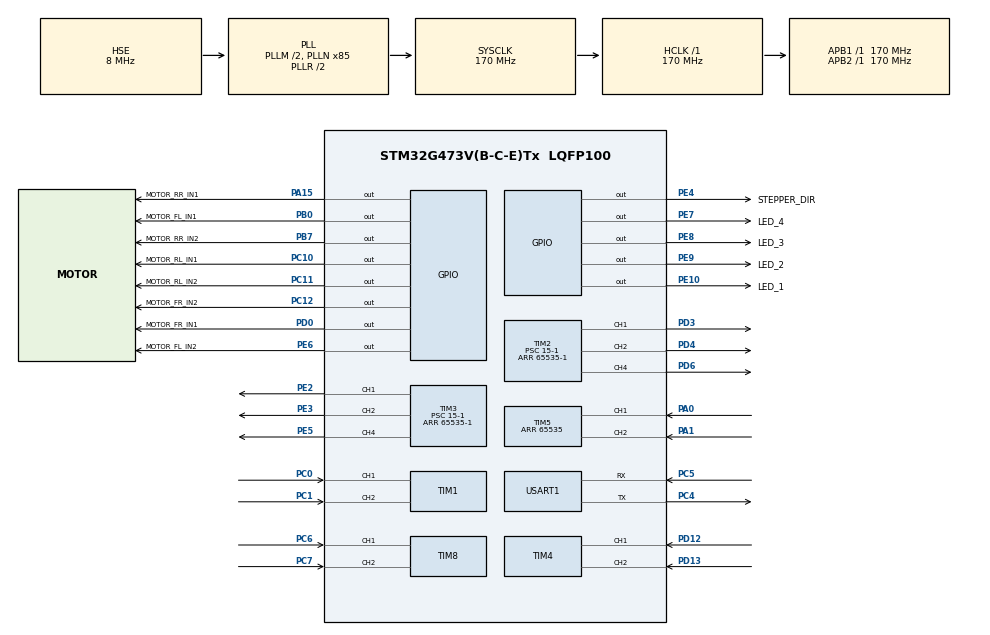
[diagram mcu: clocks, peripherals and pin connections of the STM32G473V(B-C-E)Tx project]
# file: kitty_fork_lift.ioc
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Mcu.Family=STM32G4
Mcu.Name=STM32G473V(B-C-E)Tx
Mcu.Package=LQFP100
NVIC.PriorityGroup=NVIC_PRIORITYGROUP_4
PA0.Signal=S_TIM5_CH1
PA1.Signal=S_TIM5_CH2
PA13.Mode=Serial_Wire
PA13.Signal=SYS_JTMS-SWDIO
PA14.Mode=Serial_Wire
PA14.Signal=SYS_JTCK-SWCLK
PA15.GPIO_Label=MOTOR_RR_IN1
PA15.Signal=GPIO_Output
PB0.GPIO_Label=MOTOR_FL_IN1
PB0.Signal=GPIO_Output
PB7.GPIO_Label=MOTOR_RR_IN2
PB7.Signal=GPIO_Output
PC0.Signal=S_TIM1_CH1
PC1.Signal=S_TIM1_CH2
PC10.GPIO_Label=MOTOR_RL_IN1
PC10.Signal=GPIO_Output
PC11.GPIO_Label=MOTOR_RL_IN2
PC11.Signal=GPIO_Output
PC12.GPIO_Label=MOTOR_FR_IN2
PC12.Signal=GPIO_Output
PC14-OSC32_IN.Mode=LSE-External-Oscillator
PC14-OSC32_IN.Signal=RCC_OSC32_IN
PC15-OSC32_OUT.Mode=LSE-External-Oscillator
PC15-OSC32_OUT.Signal=RCC_OSC32_OUT
PC4.Mode=Asynchronous
PC4.Signal=USART1_TX
PC5.Mode=Asynchronous
PC5.Signal=USART1_RX
PC6.Signal=S_TIM8_CH1
PC7.Signal=S_TIM8_CH2
PD0.GPIO_Label=MOTOR_FR_IN1
PD0.Signal=GPIO_Output
PD12.Signal=S_TIM4_CH1
PD13.Signal=S_TIM4_CH2
PD3.Signal=S_TIM2_CH1
PD4.Signal=S_TIM2_CH2
PD6.Signal=S_TIM2_CH4
PE10.GPIO_Label=LED_1
PE10.GPIO_Speed=GPIO_SPEED_FREQ_VERY_HIGH
PE10.Signal=GPIO_Output
PE2.Signal=S_TIM3_CH1
PE3.Signal=S_TIM3_CH2
PE4.GPIO_Label=STEPPER_DIR
PE4.GPIO_Speed=GPIO_SPEED_FREQ_VERY_HIGH
PE4.Signal=GPIO_Output
PE5.Signal=S_TIM3_CH4
PE6.GPIO_Label=MOTOR_FL_IN2
PE6.Signal=GPIO_Output
PE7.GPIO_Label=LED_4
PE7.GPIO_Speed=GPIO_SPEED_FREQ_VERY_HIGH
PE7.Signal=GPIO_Output
PE8.GPIO_Label=LED_3
PE8.GPIO_Speed=GPIO_SPEED_FREQ_VERY_HIGH
PE8.Signal=GPIO_Output
PE9.GPIO_Label=LED_2
PE9.GPIO_Speed=GPIO_SPEED_FREQ_VERY_HIGH
PE9.Signal=GPIO_Output
PF0-OSC_IN.Mode=HSE-External-Oscillator
PF0-OSC_IN.Signal=RCC_OSC_IN
PF1-OSC_OUT.Mode=HSE-External-Oscillator
PF1-OSC_OUT.Signal=RCC_OSC_OUT
ProjectManager.HeapSize=0x200
ProjectManager.StackSize=0x400
ProjectManager.TargetToolchain=STM32CubeIDE
RCC.ADC12Freq_Value=170000000
RCC.ADC345Freq_Value=170000000
RCC.AHBFreq_Value=170000000
RCC.APB1Freq_Value=170000000
RCC.APB1TimFreq_Value=170000000
RCC.APB2Freq_Value=170000000
RCC.APB2TimFreq_Value=170000000
RCC.CortexFreq_Value=170000000
RCC.EXTERNAL_CLOCK_VALUE=12288000
RCC.HCLKFreq_Value=170000000
RCC.HSE_VALUE=8000000
RCC.HSI48_VALUE=48000000
RCC.HSI_VALUE=16000000
RCC.PLLM=RCC_PLLM_DIV2
RCC.PLLN=85
RCC.PLLSourceVirtual=RCC_PLLSOURCE_HSE
RCC.SYSCLKFreq_VALUE=170000000
RCC.SYSCLKSource=RCC_SYSCLKSOURCE_PLLCLK
RCC.USBFreq_Value=170000000
RCC.VCOOutputFreq_Value=340000000
SH.S_TIM1_CH1.0=TIM1_CH1,Encoder_Interface
SH.S_TIM1_CH2.0=TIM1_CH2,Encoder_Interface
SH.S_TIM2_CH1.0=TIM2_CH1,PWM Generation1 CH1
SH.S_TIM2_CH2.0=TIM2_CH2,PWM Generation2 CH2
SH.S_TIM2_CH4.0=TIM2_CH4,PWM Generation4 CH4
SH.S_TIM3_CH1.0=TIM3_CH1,PWM Generation1 CH1
SH.S_TIM3_CH2.0=TIM3_CH2,PWM Generation2 CH2
SH.S_TIM3_CH4.0=TIM3_CH4,PWM Generation4 CH4
SH.S_TIM4_CH1.0=TIM4_CH1,Encoder_Interface
SH.S_TIM4_CH2.0=TIM4_CH2,Encoder_Interface
SH.S_TIM5_CH1.0=TIM5_CH1,Encoder_Interface
SH.S_TIM5_CH2.0=TIM5_CH2,Encoder_Interface
SH.S_TIM8_CH1.0=TIM8_CH1,Encoder_Interface
SH.S_TIM8_CH2.0=TIM8_CH2,Encoder_Interface
TIM1.AutoReloadPreload=TIM_AUTORELOAD_PRELOAD_ENABLE
TIM1.EncoderMode=TIM_ENCODERMODE_TI12
TIM1.IC1Filter=10
TIM1.IC2Filter=10
TIM2.AutoReloadPreload=TIM_AUTORELOAD_PRELOAD_ENABLE
TIM2.Channel-PWM\ Generation1\ CH1=TIM_CHANNEL_1
TIM2.Channel-PWM\ Generation2\ CH2=TIM_CHANNEL_2
TIM2.Channel-PWM\ Generation4\ CH4=TIM_CHANNEL_4
TIM2.PeriodNoDither=65535-1
TIM2.Prescaler=15-1
TIM3.AutoReloadPreload=TIM_AUTORELOAD_PRELOAD_ENABLE
TIM3.Channel-PWM\ Generation1\ CH1=TIM_CHANNEL_1
TIM3.Channel-PWM\ Generation2\ CH2=TIM_CHANNEL_2
TIM3.Channel-PWM\ Generation4\ CH4=TIM_CHANNEL_4
TIM3.PeriodNoDither=65535-1
TIM3.Prescaler=15-1
TIM4.AutoReloadPreload=TIM_AUTORELOAD_PRELOAD_ENABLE
TIM4.EncoderMode=TIM_ENCODERMODE_TI12
TIM4.IC1Filter=10
TIM4.IC2Filter=10
TIM5.AutoReloadPreload=TIM_AUTORELOAD_PRELOAD_ENABLE
TIM5.EncoderMode=TIM_ENCODERMODE_TI12
TIM5.IC1Filter=10
TIM5.IC2Filter=10
TIM5.PeriodNoDither=65535
TIM8.AutoReloadPreload=TIM_AUTORELOAD_PRELOAD_ENABLE
TIM8.EncoderMode=TIM_ENCODERMODE_TI12
TIM8.IC1Filter=10
TIM8.IC2Filter=10
USART1.VirtualMode-Asynchronous=VM_ASYNC
VP_SYS_VS_DBSignals.Mode=DisableDeadBatterySignals
VP_TIM2_VS_ClockSourceINT.Mode=Internal
VP_TIM3_VS_ClockSourceINT.Mode=Internal
board=custom

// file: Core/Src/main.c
/* USER CODE BEGIN Header */
/**
 ******************************************************************************
 * @file           : main.c
 * @brief          : Main program body
 ******************************************************************************
 * @attention
 *
 * Copyright (c) 2025 STMicroelectronics.
 * All rights reserved.
 *
 * This software is licensed under terms that can be found in the LICENSE file
 * in the root directory of this software component.
 * If no LICENSE file comes with this software, it is provided AS-IS.
 *
 ******************************************************************************
 */
/* USER CODE END Header */
#include "main.h"

#include "gpio.h"
#include "tim.h"
#include "usart.h"

/* USER CODE BEGIN Includes */
#include "auto_path.h"
#include "controller.h"
#include "encoder.h"
#include "mech.h"
#include "movement.h"
#include "robot.h"

/* USER CODE END Includes */

/* USER CODE BEGIN PD */
#define TEST 0
/* USER CODE END PD */

/* USER CODE BEGIN PV */
int test_encoder[4] = {0, 0, 0, 0};
BaseVelocity test_target_base_vel = {0, 0, 0};
int test_time = 0;
int test_stage = 0;
int test_ccr = 0;
/* USER CODE END PV */

void SystemClock_Config(void);

int main(void) {

  /* MCU Configuration--------------------------------------------------------*/

  /* Reset of all peripherals, Initializes the Flash interface and the Systick. */
  HAL_Init();

  /* Configure the system clock */
  SystemClock_Config();

  /* Initialize all configured peripherals */
  MX_GPIO_Init();
  MX_USART1_UART_Init();
  MX_TIM2_Init();
  MX_TIM3_Init();
  MX_TIM1_Init();
  MX_TIM8_Init();
  MX_TIM4_Init();
  MX_TIM5_Init();
  /* USER CODE BEGIN 2 */
  HAL_TIM_PWM_Start(&htim2, TIM_CHANNEL_1);
  HAL_TIM_PWM_Start(&htim2, TIM_CHANNEL_2);
  HAL_TIM_PWM_Start(&htim2, TIM_CHANNEL_4);
  HAL_TIM_PWM_Start(&htim3, TIM_CHANNEL_1);
  HAL_TIM_PWM_Start(&htim3, TIM_CHANNEL_2);
  HAL_TIM_PWM_Start(&htim3, TIM_CHANNEL_4);
  HAL_TIM_Base_Start_IT(&htim1);
  HAL_TIM_Encoder_Start_IT(&htim1, TIM_CHANNEL_ALL);
  HAL_TIM_Base_Start_IT(&htim4);
  HAL_TIM_Encoder_Start_IT(&htim4, TIM_CHANNEL_ALL);
  HAL_TIM_Base_Start_IT(&htim5);
  HAL_TIM_Encoder_Start_IT(&htim5, TIM_CHANNEL_ALL);
  HAL_TIM_Base_Start_IT(&htim8);
  HAL_TIM_Encoder_Start_IT(&htim8, TIM_CHANNEL_ALL);

  HAL_GPIO_WritePin(LED_1_GPIO_Port, LED_1_Pin, GPIO_PIN_SET);
  HAL_GPIO_WritePin(LED_2_GPIO_Port, LED_2_Pin, GPIO_PIN_SET);
  HAL_GPIO_WritePin(LED_3_GPIO_Port, LED_3_Pin, GPIO_PIN_SET);
  HAL_GPIO_WritePin(LED_4_GPIO_Port, LED_4_Pin, GPIO_PIN_SET);

  // HAL_GPIO_WritePin(MOTOR_FL_IN1_GPIO_Port, MOTOR_FL_IN1_Pin, GPIO_PIN_RESET);
  // HAL_GPIO_WritePin(MOTOR_FL_IN2_GPIO_Port, MOTOR_FL_IN2_Pin, GPIO_PIN_SET);
  // HAL_GPIO_WritePin(MOTOR_FR_IN1_GPIO_Port, MOTOR_FR_IN1_Pin, GPIO_PIN_RESET);
  // HAL_GPIO_WritePin(MOTOR_FR_IN2_GPIO_Port, MOTOR_FR_IN2_Pin, GPIO_PIN_SET);
  // HAL_GPIO_WritePin(MOTOR_RL_IN1_GPIO_Port, MOTOR_RL_IN1_Pin, GPIO_PIN_RESET);
  // HAL_GPIO_WritePin(MOTOR_RL_IN2_GPIO_Port, MOTOR_RL_IN2_Pin, GPIO_PIN_SET);
  // HAL_GPIO_WritePin(MOTOR_RR_IN1_GPIO_Port, MOTOR_RR_IN1_Pin, GPIO_PIN_RESET);
  // HAL_GPIO_WritePin(MOTOR_RR_IN2_GPIO_Port, MOTOR_RR_IN2_Pin, GPIO_PIN_SET);

  // TIM3->CCR2 = 65535/2;
  // TIM2->CCR1 = 65535/2;
  // TIM2->CCR2 = 65535/2;
  // TIM3->CCR1 = 65535/2;

  big_wheel_move_up();
  /* USER CODE END 2 */

  /* Infinite loop */
  while (1) {

    /* USER CODE BEGIN 3 */
#if (TEST == 0)
    HAL_UART_Receive(&huart1, controller_buffer, sizeof(controller_buffer), 0xFFFF);
    parse_controller_data(controller_buffer, &controller_state);

    if (controller_state.options_button && !prev_turn_on) {  // turn on/off the robot
      turn_on = !turn_on;
      HAL_GPIO_WritePin(LED_1_GPIO_Port, LED_1_Pin, turn_on ? GPIO_PIN_RESET : GPIO_PIN_SET);
    }
    prev_turn_on = controller_state.options_button;

    if (turn_on) {
      if (auto_path_selection == LEFT_PATH) {
        HAL_GPIO_WritePin(LED_2_GPIO_Port, LED_2_Pin, GPIO_PIN_SET);
        HAL_GPIO_WritePin(LED_3_GPIO_Port, LED_3_Pin, GPIO_PIN_SET);
        HAL_GPIO_WritePin(LED_4_GPIO_Port, LED_4_Pin, GPIO_PIN_RESET);
      } else if (auto_path_selection == MID_PATH) {
        HAL_GPIO_WritePin(LED_2_GPIO_Port, LED_2_Pin, GPIO_PIN_SET);
        HAL_GPIO_WritePin(LED_3_GPIO_Port, LED_3_Pin, GPIO_PIN_RESET);
        HAL_GPIO_WritePin(LED_4_GPIO_Port, LED_4_Pin, GPIO_PIN_SET);
      } else if (auto_path_selection == RIGHT_PATH) {
        HAL_GPIO_WritePin(LED_2_GPIO_Port, LED_2_Pin, GPIO_PIN_RESET);
        HAL_GPIO_WritePin(LED_3_GPIO_Port, LED_3_Pin, GPIO_PIN_SET);
        HAL_GPIO_WritePin(LED_4_GPIO_Port, LED_4_Pin, GPIO_PIN_SET);
      }

      float rotation_vel = (controller_state.l2_pressure / 1024.0 + controller_state.r2_pressure / -1024.0) * 100.0;

      if (controller_state.ps_button && !prev_auto_path_enable) {  // auto, line following
        auto_path_enable = !auto_path_enable;
        if (auto_path_enable)
          follow_auto_path(auto_path_selection);
      }
      prev_auto_path_enable = controller_state.ps_button;

      if (controller_state.cross && !prev_auto_path_switch) {
        auto_path_switch = !auto_path_switch;
        if (auto_path_selection == LEFT_PATH)
          auto_path_selection = MID_PATH;
        else if (auto_path_selection == MID_PATH)
          auto_path_selection = RIGHT_PATH;
        else if (auto_path_selection == RIGHT_PATH)
          auto_path_selection = LEFT_PATH;
      }  // auto, choose path, toggle left / right / straight forward
      prev_auto_path_switch = controller_state.cross;

      if (controller_state.left && !controller_state.right && !controller_state.up && !controller_state.down) {
        BaseVelocity target_vel = {0, ROBOT_MAX_X_VELOCITY * 0.15, 0};
        movement_control(target_vel);  // move to the left
      } else if (!controller_state.left && controller_state.right && !controller_state.up && !controller_state.down) {
        BaseVelocity target_vel = {0, -ROBOT_MAX_X_VELOCITY * 0.15, 0};
        movement_control(target_vel);  // move to the right
      } else if (!controller_state.left && !controller_state.right && controller_state.up && !controller_state.down) {
        BaseVelocity target_vel = {ROBOT_MAX_Y_VELOCITY * 0.15, 0, 0};
        movement_control(target_vel);  // move forward
      } else if (!controller_state.left && !controller_state.right && !controller_state.up && controller_state.down) {
        BaseVelocity target_vel = {-ROBOT_MAX_Y_VELOCITY * 0.15, 0, 0};
        movement_control(target_vel);                                                                                                                        // move backward
      } else if (controller_state.l_stick_x == 0 && controller_state.l_stick_y == 0 && rotation_vel != 0 && !controller_state.r1 && !controller_state.l1) {  // rotate
        BaseVelocity target_vel = {0, 0, rotation_vel / 100.0 * ROBOT_MAX_Z_VELOCITY * 0.35};
        movement_control(target_vel);
      } else if (controller_state.r_stick_x == 0 && controller_state.r_stick_y == 0 && !controller_state.r1 && !controller_state.l1) {  // move fastly
        BaseVelocity target_vel = {controller_state.l_stick_y / 100.0 * ROBOT_MAX_Y_VELOCITY * 0.5,
                                   controller_state.l_stick_x / 100.0 * ROBOT_MAX_X_VELOCITY * 0.5,
                                   0};
        movement_control(target_vel);
      } else if (!controller_state.r1 && !controller_state.l1) {  // move slowly
        BaseVelocity target_vel = {controller_state.r_stick_y / 100.0 * ROBOT_MAX_Y_VELOCITY * 0.25,
                                   controller_state.r_stick_x / 100.0 * ROBOT_MAX_X_VELOCITY * 0.25,
                                   0};
        movement_control(target_vel);
      } else if (controller_state.l1 || controller_state.r1) {  // rotate slowly
        BaseVelocity target_vel = {0, 0, 0};
        if (controller_state.l1)
          target_vel.z_vel = ROBOT_MAX_Z_VELOCITY * 0.15;
        else if (controller_state.r1)
          target_vel.z_vel = ROBOT_MAX_Z_VELOCITY * -0.15;
        movement_control(target_vel);
      }

      if (controller_state.triangle && !prev_big_wheel_state) {  // lift up / down the big wheel
        big_wheel_state = !big_wheel_state;
        if (big_wheel_pos == BIG_WHEEL_DOWN) {
          big_wheel_move_up();
          big_wheel_pos = BIG_WHEEL_UP;
        } else if (big_wheel_pos == BIG_WHEEL_UP) {
          big_wheel_move_down();
          big_wheel_pos = BIG_WHEEL_DOWN;
        }
      }
      prev_big_wheel_state = controller_state.triangle;

      if (controller_state.square && !controller_state.circle)  // collect ball
        big_wheel_rotate(BIG_WHEEL_ROTATE_CLOCKWISE);
      else if (controller_state.circle && !controller_state.square)  // release ball
        big_wheel_rotate(BIG_WHEEL_ROTATE_ANTICLOCKWISE);
      else if (!controller_state.circle && !controller_state.square)  // stop the big wheel
        big_wheel_rotate(BIG_WHEEL_ROTATE_STOP);
    }
#else
    // switch (test_stage) {
    //   case 1:
    //     test_target_base_vel.x_vel = ROBOT_MAX_Y_VELOCITY;
    //     test_target_base_vel.y_vel = 0;
    //     test_target_base_vel.z_vel = 0;
    //     break;
    //   case 2:
    //     test_target_base_vel.x_vel = 0;
    //     test_target_base_vel.y_vel = ROBOT_MAX_X_VELOCITY;
    //     test_target_base_vel.z_vel = 0;
    //     break;
    //   case 3:
    //     test_target_base_vel.x_vel = 0;
    //     test_target_base_vel.y_vel = 0;
    //     test_target_base_vel.z_vel = ROBOT_MAX_Z_VELOCITY;
    //     break;
    //   case 4:
    //     test_target_base_vel.x_vel = 0;
    //     test_target_base_vel.y_vel = 0;
    //     test_target_base_vel.z_vel = 0;
    //     test_stage = 0;
    //     break;
    // }

    test_target_base_vel.x_vel = ROBOT_MAX_Y_VELOCITY / 2.0;
    test_target_base_vel.y_vel = 0;
    test_target_base_vel.z_vel = 0;
    movement_control(test_target_base_vel);
    // if (HAL_GetTick() - test_time > 3000) {
    //   test_time = HAL_GetTick();
    //   HAL_GPIO_TogglePin(MOTOR_FL_IN1_GPIO_Port, MOTOR_FL_IN1_Pin);
    //   HAL_GPIO_TogglePin(MOTOR_FL_IN2_GPIO_Port, MOTOR_FL_IN2_Pin);
    //   HAL_GPIO_TogglePin(MOTOR_FR_IN1_GPIO_Port, MOTOR_FR_IN1_Pin);
    //   HAL_GPIO_TogglePin(MOTOR_FR_IN2_GPIO_Port, MOTOR_FR_IN2_Pin);
    //   HAL_GPIO_TogglePin(MOTOR_RL_IN1_GPIO_Port, MOTOR_RL_IN1_Pin);
    //   HAL_GPIO_TogglePin(MOTOR_RL_IN2_GPIO_Port, MOTOR_RL_IN2_Pin);
    //   HAL_GPIO_TogglePin(MOTOR_RR_IN1_GPIO_Port, MOTOR_RR_IN1_Pin);
    //   HAL_GPIO_TogglePin(MOTOR_RR_IN2_GPIO_Port, MOTOR_RR_IN2_Pin);
    // }
#endif
    HAL_Delay(1);
    read_current_velocity(encoders);
  }
  /* USER CODE END 3 */
}

void SystemClock_Config(void) {
  RCC_OscInitTypeDef RCC_OscInitStruct = {0};
  RCC_ClkInitTypeDef RCC_ClkInitStruct = {0};

  /** Configure the main internal regulator output voltage
   */
  HAL_PWREx_ControlVoltageScaling(PWR_REGULATOR_VOLTAGE_SCALE1_BOOST);

  /** Initializes the RCC Oscillators according to the specified parameters
   * in the RCC_OscInitTypeDef structure.
   */
  RCC_OscInitStruct.OscillatorType = RCC_OSCILLATORTYPE_HSE;
  RCC_OscInitStruct.HSEState = RCC_HSE_ON;
  RCC_OscInitStruct.PLL.PLLState = RCC_PLL_ON;
  RCC_OscInitStruct.PLL.PLLSource = RCC_PLLSOURCE_HSE;
  RCC_OscInitStruct.PLL.PLLM = RCC_PLLM_DIV2;
  RCC_OscInitStruct.PLL.PLLN = 85;
  RCC_OscInitStruct.PLL.PLLP = RCC_PLLP_DIV2;
  RCC_OscInitStruct.PLL.PLLQ = RCC_PLLQ_DIV2;
  RCC_OscInitStruct.PLL.PLLR = RCC_PLLR_DIV2;
  if (HAL_RCC_OscConfig(&RCC_OscInitStruct) != HAL_OK) {
    Error_Handler();
  }

  /** Initializes the CPU, AHB and APB buses clocks
   */
  RCC_ClkInitStruct.ClockType = RCC_CLOCKTYPE_HCLK | RCC_CLOCKTYPE_SYSCLK | RCC_CLOCKTYPE_PCLK1 | RCC_CLOCKTYPE_PCLK2;
  RCC_ClkInitStruct.SYSCLKSource = RCC_SYSCLKSOURCE_PLLCLK;
  RCC_ClkInitStruct.AHBCLKDivider = RCC_SYSCLK_DIV1;
  RCC_ClkInitStruct.APB1CLKDivider = RCC_HCLK_DIV1;
  RCC_ClkInitStruct.APB2CLKDivider = RCC_HCLK_DIV1;

  if (HAL_RCC_ClockConfig(&RCC_ClkInitStruct, FLASH_LATENCY_4) != HAL_OK) {
    Error_Handler();
  }
}

void Error_Handler(void) {
  __disable_irq();
  while (1) {
  }
}
